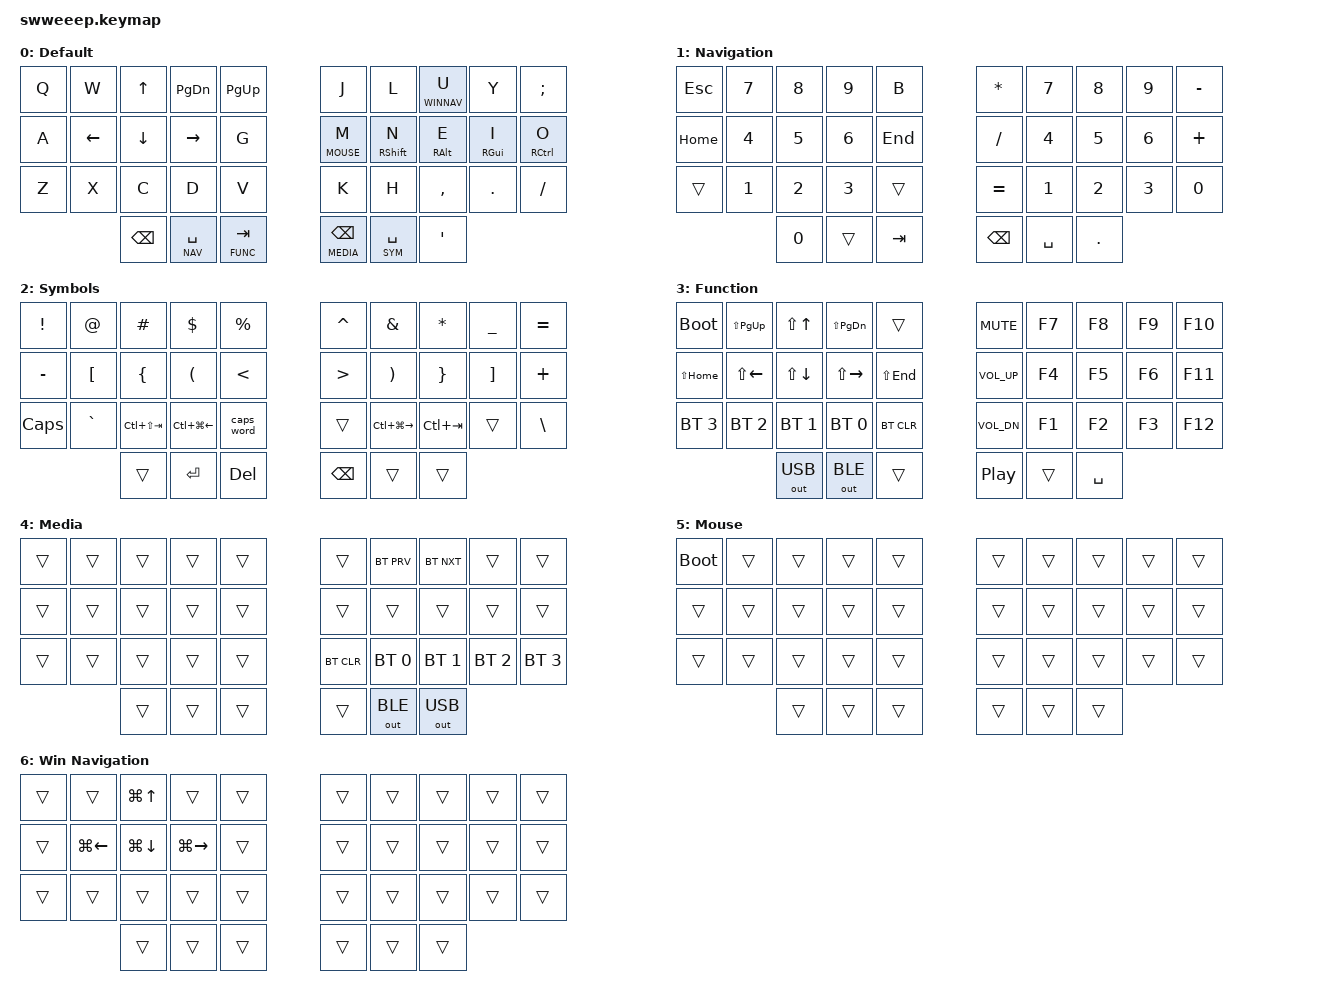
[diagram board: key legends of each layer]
#include <behaviors.dtsi>
#include <dt-bindings/zmk/keys.h>
#include <dt-bindings/zmk/bt.h>
#include <dt-bindings/zmk/outputs.h>

#define DEFAULT 0
#define NAV     1
#define SYM     2
#define FUNC    3
#define MEDIA   4
#define MOUSE   5
#define WINNAV  6

&caps_word {
    continue-list = <UNDERSCORE MINUS>;
};

/ {
    combos {
        compatible = "zmk,combos";
        combo_undo {
            timeout-ms = <50>;
            key-positions = <20 21>;
            bindings = <&kp LC(Z)>;
        };
        combo_q {
            timeout-ms = <50>;
            key-positions = <21 22>;
            bindings = <&kp Q>;
        };
        combo_semicolon {
            timeout-ms = <50>;
            key-positions = <27 28>;
            bindings = <&kp SEMI>;
        };
    };
};

/ {

    behaviors {
        hm: homerow_mods {
            compatible = "zmk,behavior-hold-tap";
            label = "HOMEROW_MODS";
            #binding-cells = <2>;
            tapping-term-ms = <200>;
            quick_tap_ms = <0>;
            flavor = "balanced";
            bindings = <&kp>, <&kp>;
        };
        hs: homerow_shift {
            compatible = "zmk,behavior-hold-tap";
            label = "HOMEROW_SHIFT";
            #binding-cells = <2>;
            tapping-term-ms = <175>;
            quick_tap_ms = <0>;
            flavor = "balanced";
            bindings = <&kp>, <&kp>;
        };
    };

    keymap {
        compatible = "zmk,keymap";

        default_layer {
            label = "Default";

            bindings = <
    &kp Q        &kp W        &kp UP      &kp PG_DN     &kp PG_UP                                       &kp J         &kp L        &lt WINNAV U  &kp Y       &kp SEMI
    &kp A        &kp LEFT     &kp DOWN    &kp RIGHT     &kp G                                       &lt MOUSE M   &hs RSHIFT N &hm RALT E    &hm RGUI I  &hm RCTL O
    &kp Z        &kp X        &kp C       &kp D         &kp V                                       &kp K         &kp H        &kp COMMA     &kp DOT     &kp FSLH
                                          &kp BSPC      &lt NAV SPACE  &lt FUNC TAB  &lt MEDIA BSPC   &lt SYM SPACE &kp SQT
            >;
        };

        nav_layer {
            label = "Navigation";

            bindings = <
    &kp ESC      &kp N7       &kp N8      &kp N9        &kp B                                       &kp ASTRK     &kp N7       &kp N8        &kp N9      &kp MINUS
    &kp HOME     &kp N4       &kp N5      &kp N6        &kp END                                     &kp FSLH      &kp N4       &kp N5        &kp N6      &kp PLUS
    &trans       &kp N1       &kp N2      &kp N3        &trans                                      &kp EQUAL     &kp N1       &kp N2        &kp N3      &kp N0
                                          &kp N0        &trans       &kp TAB       &kp BSPC         &kp SPACE     &kp DOT
            >;
        };

        sym_layer {
            label = "Symbols";

            bindings = <
    &kp EXCL     &kp AT       &kp HASH        &kp DLLR         &kp PRCNT                                   &kp CARET     &kp AMPS          &kp ASTRK     &kp UNDER   &kp EQUAL
    &kp MINUS    &kp LBKT     &kp LBRC        &kp LPAR         &kp LT                                      &kp GT        &kp RPAR          &kp RBRC      &kp RBKT    &kp PLUS
    &kp CAPS     &kp GRAVE    &kp LC(LS(TAB)) &kp LC(LG(LEFT)) &caps_word                                  &trans        &kp LC(LG(RIGHT)) &kp LC(TAB)   &trans      &kp BSLH
                                              &trans           &kp RET       &kp DEL        &kp BSPC       &trans        &trans
            >;
        };

        func_layer {
            label = "Function";

            bindings = <
    &bootloader  &kp LS(PG_UP) &kp LS(UP)   &kp LS(PG_DN) &trans                                         &kp C_MUTE       &kp F7       &kp F8        &kp F9      &kp F10
    &kp LS(HOME) &kp LS(LEFT)  &kp LS(DOWN) &kp LS(RIGHT) &kp LS(END)                                    &kp K_VOL_UP     &kp F4       &kp F5        &kp F6      &kp F11
    &bt BT_SEL 3 &bt BT_SEL 2  &bt BT_SEL 1 &bt BT_SEL 0  &bt BT_CLR                                     &kp K_VOL_DN     &kp F1       &kp F2        &kp F3      &kp F12
                                            &out OUT_USB  &out OUT_BLE     &trans      &kp C_PLAY_PAUSE  &trans           &kp SPACE
            >;
        };

        media_layer {
            label = "Media";

            bindings = <
    &trans       &trans       &trans        &trans            &trans                                      &trans             &bt BT_PRV        &bt BT_NXT         &trans         &trans
    &trans       &trans       &trans        &trans            &trans                                      &trans             &trans            &trans             &trans         &trans
    &trans       &trans       &trans        &trans            &trans                                      &bt BT_CLR         &bt BT_SEL 0      &bt BT_SEL 1       &bt BT_SEL 2   &bt BT_SEL 3
                                            &trans            &trans        &trans         &trans         &out OUT_BLE       &out OUT_USB
            >;
        };

        mouse_layer {
            label = "Mouse";

            bindings = <
    &bootloader &trans      &trans      &trans      &trans                                           &trans      &trans      &trans      &trans      &trans
    &trans      &trans      &trans      &trans      &trans                                           &trans      &trans      &trans      &trans      &trans
    &trans      &trans      &trans      &trans      &trans                                           &trans      &trans      &trans      &trans      &trans
                                        &trans      &trans          &trans           &trans          &trans      &trans
            >;
        };

        winnav_layer {
            label = "Win Navigation";

            bindings = <
    &trans       &trans       &kp LG(UP)   &trans        &trans                                      &trans      &trans      &trans      &trans      &trans
    &trans       &kp LG(LEFT) &kp LG(DOWN) &kp LG(RIGHT) &trans                                      &trans      &trans      &trans      &trans      &trans
    &trans       &trans       &trans       &trans        &trans                                      &trans      &trans      &trans      &trans      &trans
                                           &trans        &trans        &trans         &trans         &trans      &trans
            >;
        };
    };
};
